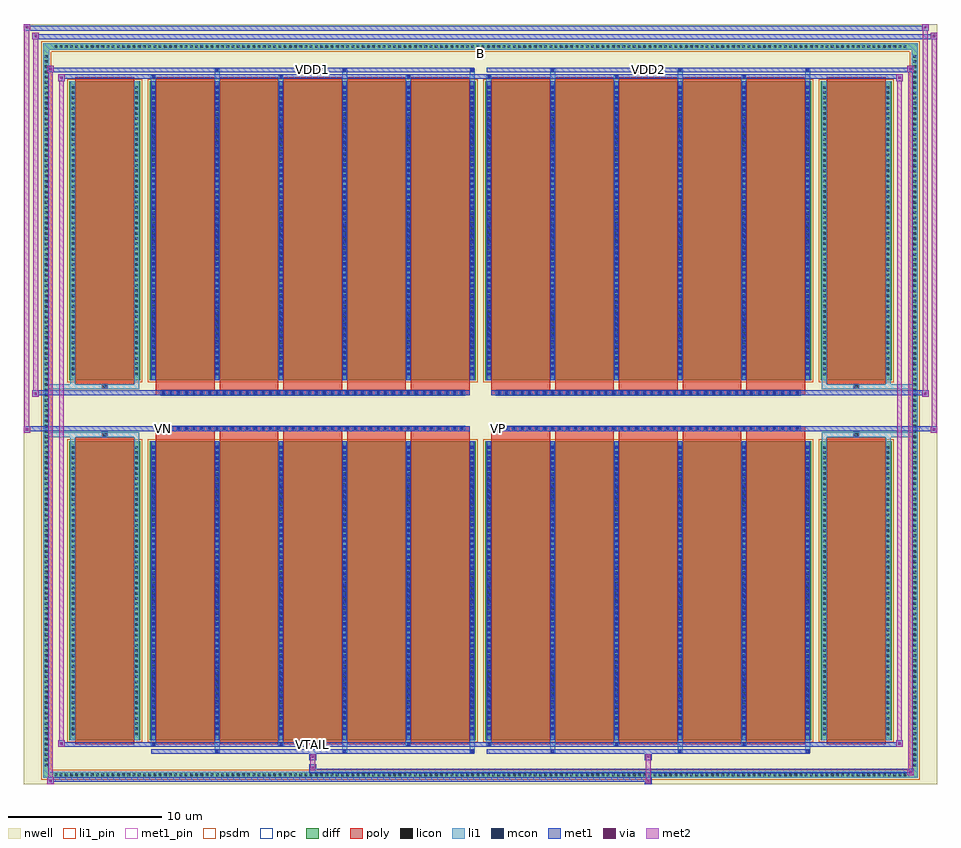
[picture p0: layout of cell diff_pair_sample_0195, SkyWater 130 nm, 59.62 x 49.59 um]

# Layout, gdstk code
import gdstk
lib = gdstk.Library(unit=1e-6, precision=5e-09)
def R(c, l, rs):  # rectangles x0, y0, x1, y1
    for r in rs: c.add(gdstk.rectangle(r[:2], r[2:], *l))
def A(c, l, x, y, w, h, nx, ny, dx, dy):  # array of equal rectangles
    R(c, l, [(x+i*dx, y+j*dy, x+i*dx+w, y+j*dy+h) for i in range(nx) for j in range(ny)])
def P(c, l, *ps):  # polygons
    for p in ps: c.add(gdstk.Polygon(p, *l))
nwell = (64, 20)
diff = (65, 20)
poly = (66, 20)
licon = (66, 44)
li1_pin = (67, 16)
li1 = (67, 20)
mcon = (67, 44)
met1_pin = (68, 16)
met1 = (68, 20)
via = (68, 44)
met2 = (69, 20)
psdm = (94, 20)
npc = (95, 20)

diff_pair_sample_0195 = lib.new_cell('diff_pair_sample_0195')
R(diff_pair_sample_0195, nwell, [(-29.81,-24.36,29.81,25.23), (-27.13,-22.55,-0.01,-0.805), (0.01,-22.55,27.13,-0.805), (-27.13,0.805,-0.01,22.55), (0.01,0.805,27.13,22.55)])
A(diff_pair_sample_0195, diff, -27.915, -23.96, 0.41, 0.41, 164, 2, 0.34, 47.51)
A(diff_pair_sample_0195, diff, -28.54, -23.325, 0.41, 0.41, 1, 137, 0, 0.34)
A(diff_pair_sample_0195, diff, 28.13, -23.325, 0.41, 0.41, 1, 137, 0, 0.34)
R(diff_pair_sample_0195, diff, [(-27.915,-23.96,27.915,-23.55), (-28.54,-23.325,-28.13,23.325), (28.13,-23.325,28.54,23.325), (-26.82,-21.505,-22.21,-1.985), (-21.57,-21.505,-0.32,-1.985), (0.32,-21.505,21.57,-1.985), (22.21,-21.505,26.82,-1.985), (-26.82,1.985,-22.21,21.505), (-21.57,1.985,-0.32,21.505), (0.32,1.985,21.57,21.505), (22.21,1.985,26.82,21.505), (-27.915,23.55,27.915,23.96)])
P(diff_pair_sample_0195, diff, [(28.54,23.96),(-28.54,23.96),(-28.54,-23.55),(-28.13,-23.55),(-28.13,23.55),(28.13,23.55),(28.13,-23.55),(-28.13,-23.55),(-28.54,-23.55),(-28.54,-23.96),(28.54,-23.96)])
A(diff_pair_sample_0195, poly, -21.18, -21.755, 3.83, 20.02, 5, 2, 4.16, 23.49)
A(diff_pair_sample_0195, poly, 0.71, -21.755, 3.83, 20.02, 5, 2, 4.16, 23.49)
A(diff_pair_sample_0195, poly, -21.18, -1.735, 3.83, 0.4, 5, 2, 4.16, 3.07)
A(diff_pair_sample_0195, poly, 0.71, -1.735, 3.83, 0.4, 5, 2, 4.16, 3.07)
A(diff_pair_sample_0195, poly, -20.86, -1.335, 0.33, 0.33, 40, 2, 0.5, 2.34)
A(diff_pair_sample_0195, poly, 1.03, -1.335, 0.33, 0.33, 40, 2, 0.5, 2.34)
R(diff_pair_sample_0195, poly, [(-26.43,-21.755,-22.6,-1.735), (22.6,-21.755,26.43,-1.735), (-24.68,-1.735,-24.35,-1.405), (-24.68,-1.735,-24.35,-1.405), (24.35,-1.735,24.68,-1.405), (24.35,-1.735,24.68,-1.405), (-21.18,-1.335,-0.71,-1.005), (0.71,-1.335,21.18,-1.005), (-21.18,1.005,-0.71,1.335), (0.71,1.005,21.18,1.335), (-24.68,1.405,-24.35,1.735), (-24.68,1.405,-24.35,1.735), (24.35,1.405,24.68,1.735), (24.35,1.405,24.68,1.735), (-26.43,1.735,-22.6,21.755), (22.6,1.735,26.43,21.755)])
A(diff_pair_sample_0195, licon, -27.795, -23.84, 0.17, 0.17, 164, 2, 0.34, 47.51)
A(diff_pair_sample_0195, licon, -28.42, -23.205, 0.17, 0.17, 1, 137, 0, 0.34)
A(diff_pair_sample_0195, licon, 28.25, -23.205, 0.17, 0.17, 1, 137, 0, 0.34)
A(diff_pair_sample_0195, licon, -26.68, -21.18, 0.17, 0.17, 1, 56, 0, 0.34)
A(diff_pair_sample_0195, licon, -22.52, -21.18, 0.17, 0.17, 1, 56, 0, 0.34)
A(diff_pair_sample_0195, licon, -21.43, -21.18, 0.17, 0.17, 6, 56, 4.16, 0.34)
A(diff_pair_sample_0195, licon, 0.46, -21.18, 0.17, 0.17, 6, 56, 4.16, 0.34)
A(diff_pair_sample_0195, licon, 22.35, -21.18, 0.17, 0.17, 1, 56, 0, 0.34)
A(diff_pair_sample_0195, licon, 26.51, -21.18, 0.17, 0.17, 1, 56, 0, 0.34)
A(diff_pair_sample_0195, licon, -20.78, -1.255, 0.17, 0.17, 40, 2, 0.5, 2.34)
A(diff_pair_sample_0195, licon, 1.11, -1.255, 0.17, 0.17, 40, 2, 0.5, 2.34)
A(diff_pair_sample_0195, licon, -26.68, 2.31, 0.17, 0.17, 1, 56, 0, 0.34)
A(diff_pair_sample_0195, licon, -22.52, 2.31, 0.17, 0.17, 1, 56, 0, 0.34)
A(diff_pair_sample_0195, licon, -21.43, 2.31, 0.17, 0.17, 6, 56, 4.16, 0.34)
A(diff_pair_sample_0195, licon, 0.46, 2.31, 0.17, 0.17, 6, 56, 4.16, 0.34)
A(diff_pair_sample_0195, licon, 22.35, 2.31, 0.17, 0.17, 1, 56, 0, 0.34)
A(diff_pair_sample_0195, licon, 26.51, 2.31, 0.17, 0.17, 1, 56, 0, 0.34)
R(diff_pair_sample_0195, licon, [(-24.6,-1.655,-24.43,-1.485), (24.43,-1.655,24.6,-1.485), (-24.6,1.485,-24.43,1.655), (24.43,1.485,24.6,1.655)])
R(diff_pair_sample_0195, li1_pin, [(-0.25,23.05,0.25,23.55)])
A(diff_pair_sample_0195, li1, -27.875, -23.92, 0.33, 0.33, 164, 2, 0.34, 47.51)
A(diff_pair_sample_0195, li1, -28.5, -23.285, 0.33, 0.33, 1, 137, 0, 0.34)
A(diff_pair_sample_0195, li1, 28.17, -23.285, 0.33, 0.33, 1, 137, 0, 0.34)
A(diff_pair_sample_0195, li1, -17.35, -22.31, 0.33, 0.805, 3, 2, 8.32, 43.815)
A(diff_pair_sample_0195, li1, -17.27, -22.31, 0.17, 0.17, 3, 2, 8.32, 44.45)
A(diff_pair_sample_0195, li1, 4.54, -22.31, 0.33, 0.805, 3, 2, 8.32, 43.815)
A(diff_pair_sample_0195, li1, 4.62, -22.31, 0.17, 0.17, 3, 2, 8.32, 44.45)
A(diff_pair_sample_0195, li1, -21.51, -21.88, 0.33, 0.375, 3, 2, 8.32, 43.385)
A(diff_pair_sample_0195, li1, -21.43, -21.88, 0.17, 0.17, 3, 2, 8.32, 43.59)
A(diff_pair_sample_0195, li1, 0.38, -21.88, 0.33, 0.375, 3, 2, 8.32, 43.385)
A(diff_pair_sample_0195, li1, 0.46, -21.88, 0.17, 0.17, 3, 2, 8.32, 43.59)
A(diff_pair_sample_0195, li1, -21.51, -21.505, 0.33, 19.52, 6, 2, 4.16, 23.49)
A(diff_pair_sample_0195, li1, 0.38, -21.505, 0.33, 19.52, 6, 2, 4.16, 23.49)
A(diff_pair_sample_0195, li1, -26.76, -21.26, 0.33, 0.33, 1, 56, 0, 0.34)
A(diff_pair_sample_0195, li1, -22.6, -21.26, 0.33, 0.33, 1, 56, 0, 0.34)
A(diff_pair_sample_0195, li1, -21.51, -21.26, 0.33, 0.33, 6, 56, 4.16, 0.34)
A(diff_pair_sample_0195, li1, 0.38, -21.26, 0.33, 0.33, 6, 56, 4.16, 0.34)
A(diff_pair_sample_0195, li1, 22.27, -21.26, 0.33, 0.33, 1, 56, 0, 0.34)
A(diff_pair_sample_0195, li1, 26.43, -21.26, 0.33, 0.33, 1, 56, 0, 0.34)
A(diff_pair_sample_0195, li1, -21.43, -21.19, 0.17, 0.17, 6, 53, 4.16, 0.36)
A(diff_pair_sample_0195, li1, -21.43, -21.19, 0.17, 18.89, 6, 2, 4.16, 23.49)
A(diff_pair_sample_0195, li1, 0.46, -21.19, 0.17, 0.17, 6, 53, 4.16, 0.36)
A(diff_pair_sample_0195, li1, 0.46, -21.19, 0.17, 18.89, 6, 2, 4.16, 23.49)
A(diff_pair_sample_0195, li1, -20.86, -1.335, 0.33, 0.33, 40, 2, 0.5, 2.34)
A(diff_pair_sample_0195, li1, 1.03, -1.335, 0.33, 0.33, 40, 2, 0.5, 2.34)
A(diff_pair_sample_0195, li1, -26.76, 2.23, 0.33, 0.33, 1, 56, 0, 0.34)
A(diff_pair_sample_0195, li1, -22.6, 2.23, 0.33, 0.33, 1, 56, 0, 0.34)
A(diff_pair_sample_0195, li1, -21.51, 2.23, 0.33, 0.33, 6, 56, 4.16, 0.34)
A(diff_pair_sample_0195, li1, 0.38, 2.23, 0.33, 0.33, 6, 56, 4.16, 0.34)
A(diff_pair_sample_0195, li1, 22.27, 2.23, 0.33, 0.33, 1, 56, 0, 0.34)
A(diff_pair_sample_0195, li1, 26.43, 2.23, 0.33, 0.33, 1, 56, 0, 0.34)
A(diff_pair_sample_0195, li1, -21.43, 2.3, 0.17, 0.17, 6, 53, 4.16, 0.36)
A(diff_pair_sample_0195, li1, 0.46, 2.3, 0.17, 0.17, 6, 53, 4.16, 0.36)
R(diff_pair_sample_0195, li1, [(-28.54,-23.96,-28.13,-23.55), (-28.54,-23.96,-28.13,-23.55), (-28.13,-23.96,28.13,-23.55), (28.13,-23.96,28.54,-23.55), (28.13,-23.96,28.54,-23.55), (-28.54,-23.55,-28.13,23.55), (28.13,-23.55,28.54,23.55), (-26.76,-21.505,-26.43,-1.985), (-22.6,-21.505,-22.27,-1.985), (22.27,-21.505,22.6,-1.985), (26.43,-21.505,26.76,-1.985), (-26.76,-1.985,-26.43,-1.405), (-22.6,-1.985,-22.27,-1.405), (22.27,-1.985,22.6,-1.405), (26.43,-1.985,26.76,-1.405), (-28.54,-1.735,-24.68,-1.405), (-26.76,-1.735,-24.68,-1.405), (-24.68,-1.735,-24.35,-1.405), (-24.35,-1.735,-22.27,-1.405), (22.27,-1.735,24.35,-1.405), (24.35,-1.735,24.68,-1.405), (24.35,-1.735,28.54,-1.405), (24.68,-1.735,26.76,-1.405), (-28.54,1.405,-24.68,1.735), (-26.76,1.405,-24.68,1.735), (-26.76,1.405,-26.43,1.985), (-24.68,1.405,-24.35,1.735), (-24.35,1.405,-22.27,1.735), (-22.6,1.405,-22.27,1.985), (22.27,1.405,24.35,1.735), (22.27,1.405,22.6,1.985), (24.35,1.405,24.68,1.735), (24.35,1.405,28.54,1.735), (24.68,1.405,26.76,1.735), (26.43,1.405,26.76,1.985), (-26.76,1.985,-26.43,21.505), (-22.6,1.985,-22.27,21.505), (22.27,1.985,22.6,21.505), (26.43,1.985,26.76,21.505), (-28.54,23.55,-28.13,23.96), (-28.54,23.55,-28.13,23.96), (-28.13,23.55,28.13,23.96), (28.13,23.55,28.54,23.96), (28.13,23.55,28.54,23.96)])
A(diff_pair_sample_0195, mcon, -17.27, -22.31, 0.17, 0.17, 3, 2, 8.32, 44.45)
A(diff_pair_sample_0195, mcon, 4.62, -22.31, 0.17, 0.17, 3, 2, 8.32, 44.45)
A(diff_pair_sample_0195, mcon, -21.43, -21.88, 0.17, 0.17, 3, 2, 8.32, 43.59)
A(diff_pair_sample_0195, mcon, 0.46, -21.88, 0.17, 0.17, 3, 2, 8.32, 43.59)
A(diff_pair_sample_0195, mcon, -21.43, -21.19, 0.17, 0.17, 6, 53, 4.16, 0.36)
A(diff_pair_sample_0195, mcon, 0.46, -21.19, 0.17, 0.17, 6, 53, 4.16, 0.36)
A(diff_pair_sample_0195, mcon, -20.78, -1.255, 0.17, 0.17, 40, 2, 0.5, 2.34)
A(diff_pair_sample_0195, mcon, 1.11, -1.255, 0.17, 0.17, 40, 2, 0.5, 2.34)
A(diff_pair_sample_0195, mcon, -21.43, 2.3, 0.17, 0.17, 6, 53, 4.16, 0.36)
A(diff_pair_sample_0195, mcon, 0.46, 2.3, 0.17, 0.17, 6, 53, 4.16, 0.36)
R(diff_pair_sample_0195, met1_pin, [(-11.08,-21.92,-10.81,-21.65), (-20.83,-1.295,-20.56,-1.025), (1.06,-1.295,1.33,-1.025), (-11.08,22.1,-10.81,22.37), (10.81,22.1,11.08,22.37)])
A(diff_pair_sample_0195, met1, -17.33, -22.37, 0.29, 0.29, 3, 2, 8.32, 44.45)
A(diff_pair_sample_0195, met1, 4.56, -22.37, 0.29, 0.29, 3, 2, 8.32, 44.45)
A(diff_pair_sample_0195, met1, -21.49, -21.94, 0.29, 0.29, 3, 2, 8.32, 43.59)
A(diff_pair_sample_0195, met1, 0.4, -21.94, 0.29, 0.29, 3, 2, 8.32, 43.59)
A(diff_pair_sample_0195, met1, -21.49, -21.505, 0.29, 19.52, 6, 2, 4.16, 23.49)
A(diff_pair_sample_0195, met1, 0.4, -21.505, 0.29, 19.52, 6, 2, 4.16, 23.49)
A(diff_pair_sample_0195, met1, -21.49, -21.25, 0.29, 0.29, 6, 53, 4.16, 0.36)
A(diff_pair_sample_0195, met1, 0.4, -21.25, 0.29, 0.29, 6, 53, 4.16, 0.36)
A(diff_pair_sample_0195, met1, -20.84, -1.315, 0.29, 0.29, 40, 2, 0.5, 2.34)
A(diff_pair_sample_0195, met1, 1.05, -1.315, 0.29, 0.29, 40, 2, 0.5, 2.34)
A(diff_pair_sample_0195, met1, -21.49, 2.24, 0.29, 0.29, 6, 53, 4.16, 0.36)
A(diff_pair_sample_0195, met1, 0.4, 2.24, 0.29, 0.29, 6, 53, 4.16, 0.36)
R(diff_pair_sample_0195, met1, [(-28.27,-24.36,-27.84,-23.93), (10.73,-24.36,11.16,-23.93), (-28.27,-24.22,11.16,-23.93), (27.84,-23.79,28.27,-23.36), (-11.16,-23.65,28.27,-23.36), (-11.16,-23.51,-10.73,-23.08), (-11.16,-22.8,-10.73,-22.37), (10.73,-22.8,11.16,-22.37), (-21.49,-22.37,-0.4,-22.08), (0.4,-22.37,21.49,-22.08), (-27.56,-21.94,-27.13,-21.51), (-27.56,-21.94,-21.49,-21.65), (-21.49,-21.94,-0.4,-21.65), (-0.4,-21.94,0.4,-21.65), (0.4,-21.94,21.49,-21.65), (21.49,-21.94,27.56,-21.65), (27.13,-21.94,27.56,-21.51), (-29.81,-1.435,-29.38,-1.005), (29.38,-1.435,29.81,-1.005), (-29.81,-1.335,-0.71,-1.005), (-21.18,-1.335,-0.71,-1.005), (0.71,-1.335,21.18,-1.005), (0.71,-1.335,29.81,-1.005), (-29.24,0.905,-28.81,1.335), (28.81,0.905,29.24,1.335), (-29.24,1.005,-21.18,1.335), (-21.18,1.005,-0.71,1.335), (0.71,1.005,21.18,1.335), (21.18,1.005,29.24,1.335), (-27.56,21.51,-27.13,21.94), (27.13,21.51,27.56,21.94), (-27.56,21.65,-21.49,21.94), (-21.49,21.65,-0.4,21.94), (-0.4,21.65,0.4,21.94), (0.4,21.65,21.49,21.94), (21.49,21.65,27.56,21.94), (-28.27,22.08,-27.84,22.51), (-28.27,22.08,-21.49,22.37), (-21.49,22.08,-0.4,22.37), (0.4,22.08,21.49,22.37), (21.49,22.08,28.27,22.37), (27.84,22.08,28.27,22.51), (-29.24,24.23,-28.81,24.66), (-29.24,24.23,-27.13,24.56), (-27.13,24.23,27.13,24.56), (27.13,24.23,29.81,24.56), (29.38,24.23,29.81,24.66), (-29.81,24.8,-29.38,25.23), (-29.81,24.8,-27.13,25.13), (-27.13,24.8,27.13,25.13), (27.13,24.8,29.24,25.13), (28.81,24.8,29.24,25.23)])
R(diff_pair_sample_0195, via, [(-28.13,-24.22,-27.98,-24.07), (10.87,-24.22,11.02,-24.07), (27.98,-23.65,28.13,-23.5), (-11.02,-23.37,-10.87,-23.22), (-11.02,-22.66,-10.87,-22.51), (10.87,-22.66,11.02,-22.51), (-27.42,-21.8,-27.27,-21.65), (27.27,-21.8,27.42,-21.65), (-29.67,-1.295,-29.52,-1.145), (29.52,-1.295,29.67,-1.145), (-29.1,1.045,-28.95,1.195), (28.95,1.045,29.1,1.195), (-27.42,21.65,-27.27,21.8), (27.27,21.65,27.42,21.8), (-28.13,22.22,-27.98,22.37), (27.98,22.22,28.13,22.37), (-29.1,24.37,-28.95,24.52), (29.52,24.37,29.67,24.52), (-29.67,24.94,-29.52,25.09), (28.95,24.94,29.1,25.09)])
R(diff_pair_sample_0195, met2, [(-28.27,-24.36,-27.84,-23.93), (-28.2,-24.36,-27.91,22.51), (-27.91,-24.36,-27.84,-23.93), (-28.22,-24.31,-27.89,-23.98), (10.78,-24.31,11.11,-23.98), (10.78,-23.98,11.11,-22.75), (27.84,-23.79,28.27,-23.36), (27.91,-23.79,28.2,22.51), (28.2,-23.79,28.27,-23.36), (27.89,-23.74,28.22,-23.41), (-11.11,-23.46,-10.78,-23.13), (-11.11,-23.13,-10.78,-22.75), (-11.11,-22.75,-10.78,-22.42), (10.78,-22.75,11.11,-22.42), (-27.56,-21.94,-27.13,-21.51), (-27.49,-21.94,-27.2,21.94), (-27.2,-21.94,-27.13,-21.51), (27.13,-21.94,27.56,-21.51), (27.2,-21.94,27.49,21.94), (27.49,-21.94,27.56,-21.51), (-27.51,-21.89,-27.18,-21.56), (27.18,-21.89,27.51,-21.56), (-29.81,-1.435,-29.38,-1.005), (-29.76,-1.435,-29.43,25.23), (-29.43,-1.435,-29.38,-1.005), (29.38,-1.435,29.81,-1.005), (29.43,-1.435,29.76,24.66), (29.76,-1.435,29.81,-1.005), (-29.76,-1.385,-29.43,-1.055), (29.43,-1.385,29.76,-1.055), (-29.24,0.905,-28.81,1.335), (-29.19,0.905,-28.86,24.66), (-28.86,0.905,-28.81,1.335), (28.81,0.905,29.24,1.335), (28.86,0.905,29.19,25.23), (29.19,0.905,29.24,1.335), (-29.19,0.955,-28.86,1.285), (28.86,0.955,29.19,1.285), (-27.56,21.51,-27.13,21.94), (-27.2,21.51,-27.13,21.94), (27.13,21.51,27.56,21.94), (27.49,21.51,27.56,21.94), (-27.51,21.56,-27.18,21.89), (27.18,21.56,27.51,21.89), (-28.27,22.08,-27.84,22.51), (-27.91,22.08,-27.84,22.51), (27.84,22.08,28.27,22.51), (28.2,22.08,28.27,22.51), (-28.22,22.13,-27.89,22.46), (27.89,22.13,28.22,22.46), (-29.24,24.23,-28.81,24.66), (-28.86,24.23,-28.81,24.66), (29.38,24.23,29.81,24.66), (29.76,24.23,29.81,24.66), (-29.19,24.28,-28.86,24.61), (29.43,24.28,29.76,24.61), (-29.81,24.8,-29.38,25.23), (-29.43,24.8,-29.38,25.23), (28.81,24.8,29.24,25.23), (29.19,24.8,29.24,25.23), (-29.76,24.85,-29.43,25.18), (28.86,24.85,29.19,25.18)])
R(diff_pair_sample_0195, psdm, [(-26.95,-21.635,-22.08,-1.855), (-21.7,-21.635,-0.19,-1.855), (0.19,-21.635,21.7,-1.855), (22.08,-21.635,26.95,-1.855), (-26.95,1.855,-22.08,21.635), (-21.7,1.855,-0.19,21.635), (0.19,1.855,21.7,21.635), (22.08,1.855,26.95,21.635)])
P(diff_pair_sample_0195, psdm, [(28.67,24.09),(-28.67,24.09),(-28.67,-23.42),(-28,-23.42),(-28,23.42),(28,23.42),(28,-23.42),(-28,-23.42),(-28.67,-23.42),(-28.67,-24.09),(28.67,-24.09)])
A(diff_pair_sample_0195, npc, -20.88, -1.355, 0.37, 0.37, 40, 2, 0.5, 2.34)
A(diff_pair_sample_0195, npc, 1.01, -1.355, 0.37, 0.37, 40, 2, 0.5, 2.34)
R(diff_pair_sample_0195, npc, [(-24.7,-1.755,-24.33,-1.385), (24.33,-1.755,24.7,-1.385), (-20.88,-1.355,-20.01,-0.985), (-20.88,-1.355,-20.01,-0.985), (-20.38,-1.355,-19.51,-0.985), (-20.38,-1.355,-19.51,-0.985), (-19.88,-1.355,-19.01,-0.985), (-19.88,-1.355,-19.01,-0.985), (-19.38,-1.355,-18.51,-0.985), (-19.38,-1.355,-18.51,-0.985), (-18.88,-1.355,-18.01,-0.985), (-18.88,-1.355,-18.01,-0.985), (-18.38,-1.355,-17.51,-0.985), (-18.38,-1.355,-17.51,-0.985), (-17.88,-1.355,-17.01,-0.985), (-17.88,-1.355,-17.01,-0.985), (-17.38,-1.355,-16.51,-0.985), (-17.38,-1.355,-16.51,-0.985), (-16.88,-1.355,-16.01,-0.985), (-16.88,-1.355,-16.01,-0.985), (-16.38,-1.355,-15.51,-0.985), (-16.38,-1.355,-15.51,-0.985), (-15.88,-1.355,-15.01,-0.985), (-15.88,-1.355,-15.01,-0.985), (-15.38,-1.355,-14.51,-0.985), (-15.38,-1.355,-14.51,-0.985), (-14.88,-1.355,-14.01,-0.985), (-14.88,-1.355,-14.01,-0.985), (-14.38,-1.355,-13.51,-0.985), (-14.38,-1.355,-13.51,-0.985), (-13.88,-1.355,-13.01,-0.985), (-13.88,-1.355,-13.01,-0.985), (-13.38,-1.355,-12.51,-0.985), (-13.38,-1.355,-12.51,-0.985), (-12.88,-1.355,-12.01,-0.985), (-12.88,-1.355,-12.01,-0.985), (-12.38,-1.355,-11.51,-0.985), (-12.38,-1.355,-11.51,-0.985), (-11.88,-1.355,-11.01,-0.985), (-11.88,-1.355,-11.01,-0.985), (-11.38,-1.355,-10.51,-0.985), (-11.38,-1.355,-10.51,-0.985), (-10.88,-1.355,-10.01,-0.985), (-10.88,-1.355,-10.01,-0.985), (-10.38,-1.355,-9.51,-0.985), (-10.38,-1.355,-9.51,-0.985), (-9.88,-1.355,-9.01,-0.985), (-9.88,-1.355,-9.01,-0.985), (-9.38,-1.355,-8.51,-0.985), (-9.38,-1.355,-8.51,-0.985), (-8.88,-1.355,-8.01,-0.985), (-8.88,-1.355,-8.01,-0.985), (-8.38,-1.355,-7.51,-0.985), (-8.38,-1.355,-7.51,-0.985), (-7.88,-1.355,-7.01,-0.985), (-7.88,-1.355,-7.01,-0.985), (-7.38,-1.355,-6.51,-0.985), (-7.38,-1.355,-6.51,-0.985), (-6.88,-1.355,-6.01,-0.985), (-6.88,-1.355,-6.01,-0.985), (-6.38,-1.355,-5.51,-0.985), (-6.38,-1.355,-5.51,-0.985), (-5.88,-1.355,-5.01,-0.985), (-5.88,-1.355,-5.01,-0.985), (-5.38,-1.355,-4.51,-0.985), (-5.38,-1.355,-4.51,-0.985), (-4.88,-1.355,-4.01,-0.985), (-4.88,-1.355,-4.01,-0.985), (-4.38,-1.355,-3.51,-0.985), (-4.38,-1.355,-3.51,-0.985), (-3.88,-1.355,-3.01,-0.985), (-3.88,-1.355,-3.01,-0.985), (-3.38,-1.355,-2.51,-0.985), (-3.38,-1.355,-2.51,-0.985), (-2.88,-1.355,-2.01,-0.985), (-2.88,-1.355,-2.01,-0.985), (-2.38,-1.355,-1.51,-0.985), (-2.38,-1.355,-1.51,-0.985), (-1.88,-1.355,-1.01,-0.985), (-1.88,-1.355,-1.01,-0.985), (1.01,-1.355,1.88,-0.985), (1.01,-1.355,1.88,-0.985), (1.51,-1.355,2.38,-0.985), (1.51,-1.355,2.38,-0.985), (2.01,-1.355,2.88,-0.985), (2.01,-1.355,2.88,-0.985), (2.51,-1.355,3.38,-0.985), (2.51,-1.355,3.38,-0.985), (3.01,-1.355,3.88,-0.985), (3.01,-1.355,3.88,-0.985), (3.51,-1.355,4.38,-0.985), (3.51,-1.355,4.38,-0.985), (4.01,-1.355,4.88,-0.985), (4.01,-1.355,4.88,-0.985), (4.51,-1.355,5.38,-0.985), (4.51,-1.355,5.38,-0.985), (5.01,-1.355,5.88,-0.985), (5.01,-1.355,5.88,-0.985), (5.51,-1.355,6.38,-0.985), (5.51,-1.355,6.38,-0.985), (6.01,-1.355,6.88,-0.985), (6.01,-1.355,6.88,-0.985), (6.51,-1.355,7.38,-0.985), (6.51,-1.355,7.38,-0.985), (7.01,-1.355,7.88,-0.985), (7.01,-1.355,7.88,-0.985), (7.51,-1.355,8.38,-0.985), (7.51,-1.355,8.38,-0.985), (8.01,-1.355,8.88,-0.985), (8.01,-1.355,8.88,-0.985), (8.51,-1.355,9.38,-0.985), (8.51,-1.355,9.38,-0.985), (9.01,-1.355,9.88,-0.985), (9.01,-1.355,9.88,-0.985), (9.51,-1.355,10.38,-0.985), (9.51,-1.355,10.38,-0.985), (10.01,-1.355,10.88,-0.985), (10.01,-1.355,10.88,-0.985), (10.51,-1.355,11.38,-0.985), (10.51,-1.355,11.38,-0.985), (11.01,-1.355,11.88,-0.985), (11.01,-1.355,11.88,-0.985), (11.51,-1.355,12.38,-0.985), (11.51,-1.355,12.38,-0.985), (12.01,-1.355,12.88,-0.985), (12.01,-1.355,12.88,-0.985), (12.51,-1.355,13.38,-0.985), (12.51,-1.355,13.38,-0.985), (13.01,-1.355,13.88,-0.985), (13.01,-1.355,13.88,-0.985), (13.51,-1.355,14.38,-0.985), (13.51,-1.355,14.38,-0.985), (14.01,-1.355,14.88,-0.985), (14.01,-1.355,14.88,-0.985), (14.51,-1.355,15.38,-0.985), (14.51,-1.355,15.38,-0.985), (15.01,-1.355,15.88,-0.985), (15.01,-1.355,15.88,-0.985), (15.51,-1.355,16.38,-0.985), (15.51,-1.355,16.38,-0.985), (16.01,-1.355,16.88,-0.985), (16.01,-1.355,16.88,-0.985), (16.51,-1.355,17.38,-0.985), (16.51,-1.355,17.38,-0.985), (17.01,-1.355,17.88,-0.985), (17.01,-1.355,17.88,-0.985), (17.51,-1.355,18.38,-0.985), (17.51,-1.355,18.38,-0.985), (18.01,-1.355,18.88,-0.985), (18.01,-1.355,18.88,-0.985), (18.51,-1.355,19.38,-0.985), (18.51,-1.355,19.38,-0.985), (19.01,-1.355,19.88,-0.985), (19.01,-1.355,19.88,-0.985), (19.51,-1.355,20.38,-0.985), (19.51,-1.355,20.38,-0.985), (20.01,-1.355,20.88,-0.985), (20.01,-1.355,20.88,-0.985), (-20.88,0.985,-20.01,1.355), (-20.88,0.985,-20.01,1.355), (-20.38,0.985,-19.51,1.355), (-20.38,0.985,-19.51,1.355), (-19.88,0.985,-19.01,1.355), (-19.88,0.985,-19.01,1.355), (-19.38,0.985,-18.51,1.355), (-19.38,0.985,-18.51,1.355), (-18.88,0.985,-18.01,1.355), (-18.88,0.985,-18.01,1.355), (-18.38,0.985,-17.51,1.355), (-18.38,0.985,-17.51,1.355), (-17.88,0.985,-17.01,1.355), (-17.88,0.985,-17.01,1.355), (-17.38,0.985,-16.51,1.355), (-17.38,0.985,-16.51,1.355), (-16.88,0.985,-16.01,1.355), (-16.88,0.985,-16.01,1.355), (-16.38,0.985,-15.51,1.355), (-16.38,0.985,-15.51,1.355), (-15.88,0.985,-15.01,1.355), (-15.88,0.985,-15.01,1.355), (-15.38,0.985,-14.51,1.355), (-15.38,0.985,-14.51,1.355), (-14.88,0.985,-14.01,1.355), (-14.88,0.985,-14.01,1.355), (-14.38,0.985,-13.51,1.355), (-14.38,0.985,-13.51,1.355), (-13.88,0.985,-13.01,1.355), (-13.88,0.985,-13.01,1.355), (-13.38,0.985,-12.51,1.355), (-13.38,0.985,-12.51,1.355), (-12.88,0.985,-12.01,1.355), (-12.88,0.985,-12.01,1.355), (-12.38,0.985,-11.51,1.355), (-12.38,0.985,-11.51,1.355), (-11.88,0.985,-11.01,1.355), (-11.88,0.985,-11.01,1.355), (-11.38,0.985,-10.51,1.355), (-11.38,0.985,-10.51,1.355), (-10.88,0.985,-10.01,1.355), (-10.88,0.985,-10.01,1.355), (-10.38,0.985,-9.51,1.355), (-10.38,0.985,-9.51,1.355), (-9.88,0.985,-9.01,1.355), (-9.88,0.985,-9.01,1.355), (-9.38,0.985,-8.51,1.355), (-9.38,0.985,-8.51,1.355), (-8.88,0.985,-8.01,1.355), (-8.88,0.985,-8.01,1.355), (-8.38,0.985,-7.51,1.355), (-8.38,0.985,-7.51,1.355), (-7.88,0.985,-7.01,1.355), (-7.88,0.985,-7.01,1.355), (-7.38,0.985,-6.51,1.355), (-7.38,0.985,-6.51,1.355), (-6.88,0.985,-6.01,1.355), (-6.88,0.985,-6.01,1.355), (-6.38,0.985,-5.51,1.355), (-6.38,0.985,-5.51,1.355), (-5.88,0.985,-5.01,1.355), (-5.88,0.985,-5.01,1.355), (-5.38,0.985,-4.51,1.355), (-5.38,0.985,-4.51,1.355), (-4.88,0.985,-4.01,1.355), (-4.88,0.985,-4.01,1.355), (-4.38,0.985,-3.51,1.355), (-4.38,0.985,-3.51,1.355), (-3.88,0.985,-3.01,1.355), (-3.88,0.985,-3.01,1.355), (-3.38,0.985,-2.51,1.355), (-3.38,0.985,-2.51,1.355), (-2.88,0.985,-2.01,1.355), (-2.88,0.985,-2.01,1.355), (-2.38,0.985,-1.51,1.355), (-2.38,0.985,-1.51,1.355), (-1.88,0.985,-1.01,1.355), (-1.88,0.985,-1.01,1.355), (1.01,0.985,1.88,1.355), (1.01,0.985,1.88,1.355), (1.51,0.985,2.38,1.355), (1.51,0.985,2.38,1.355), (2.01,0.985,2.88,1.355), (2.01,0.985,2.88,1.355), (2.51,0.985,3.38,1.355), (2.51,0.985,3.38,1.355), (3.01,0.985,3.88,1.355), (3.01,0.985,3.88,1.355), (3.51,0.985,4.38,1.355), (3.51,0.985,4.38,1.355), (4.01,0.985,4.88,1.355), (4.01,0.985,4.88,1.355), (4.51,0.985,5.38,1.355), (4.51,0.985,5.38,1.355), (5.01,0.985,5.88,1.355), (5.01,0.985,5.88,1.355), (5.51,0.985,6.38,1.355), (5.51,0.985,6.38,1.355), (6.01,0.985,6.88,1.355), (6.01,0.985,6.88,1.355), (6.51,0.985,7.38,1.355), (6.51,0.985,7.38,1.355), (7.01,0.985,7.88,1.355), (7.01,0.985,7.88,1.355), (7.51,0.985,8.38,1.355), (7.51,0.985,8.38,1.355), (8.01,0.985,8.88,1.355), (8.01,0.985,8.88,1.355), (8.51,0.985,9.38,1.355), (8.51,0.985,9.38,1.355), (9.01,0.985,9.88,1.355), (9.01,0.985,9.88,1.355), (9.51,0.985,10.38,1.355), (9.51,0.985,10.38,1.355), (10.01,0.985,10.88,1.355), (10.01,0.985,10.88,1.355), (10.51,0.985,11.38,1.355), (10.51,0.985,11.38,1.355), (11.01,0.985,11.88,1.355), (11.01,0.985,11.88,1.355), (11.51,0.985,12.38,1.355), (11.51,0.985,12.38,1.355), (12.01,0.985,12.88,1.355), (12.01,0.985,12.88,1.355), (12.51,0.985,13.38,1.355), (12.51,0.985,13.38,1.355), (13.01,0.985,13.88,1.355), (13.01,0.985,13.88,1.355), (13.51,0.985,14.38,1.355), (13.51,0.985,14.38,1.355), (14.01,0.985,14.88,1.355), (14.01,0.985,14.88,1.355), (14.51,0.985,15.38,1.355), (14.51,0.985,15.38,1.355), (15.01,0.985,15.88,1.355), (15.01,0.985,15.88,1.355), (15.51,0.985,16.38,1.355), (15.51,0.985,16.38,1.355), (16.01,0.985,16.88,1.355), (16.01,0.985,16.88,1.355), (16.51,0.985,17.38,1.355), (16.51,0.985,17.38,1.355), (17.01,0.985,17.88,1.355), (17.01,0.985,17.88,1.355), (17.51,0.985,18.38,1.355), (17.51,0.985,18.38,1.355), (18.01,0.985,18.88,1.355), (18.01,0.985,18.88,1.355), (18.51,0.985,19.38,1.355), (18.51,0.985,19.38,1.355), (19.01,0.985,19.88,1.355), (19.01,0.985,19.88,1.355), (19.51,0.985,20.38,1.355), (19.51,0.985,20.38,1.355), (20.01,0.985,20.88,1.355), (20.01,0.985,20.88,1.355), (-24.7,1.385,-24.33,1.755), (24.33,1.385,24.7,1.755)])
diff_pair_sample_0195.add(gdstk.Label('VTAIL', (-10.945,-21.785), layer=68, texttype=5))
diff_pair_sample_0195.add(gdstk.Label('VN', (-20.695,-1.16), layer=68, texttype=5))
diff_pair_sample_0195.add(gdstk.Label('VP', (1.195,-1.16), layer=68, texttype=5))
diff_pair_sample_0195.add(gdstk.Label('B', (0,23.3), layer=67, texttype=5))
diff_pair_sample_0195.add(gdstk.Label('VDD2', (10.945,22.235), layer=68, texttype=5))
diff_pair_sample_0195.add(gdstk.Label('VDD1', (-10.945,22.235), layer=68, texttype=5))

lib.write_gds('diff_pair_sample_0195.gds')
